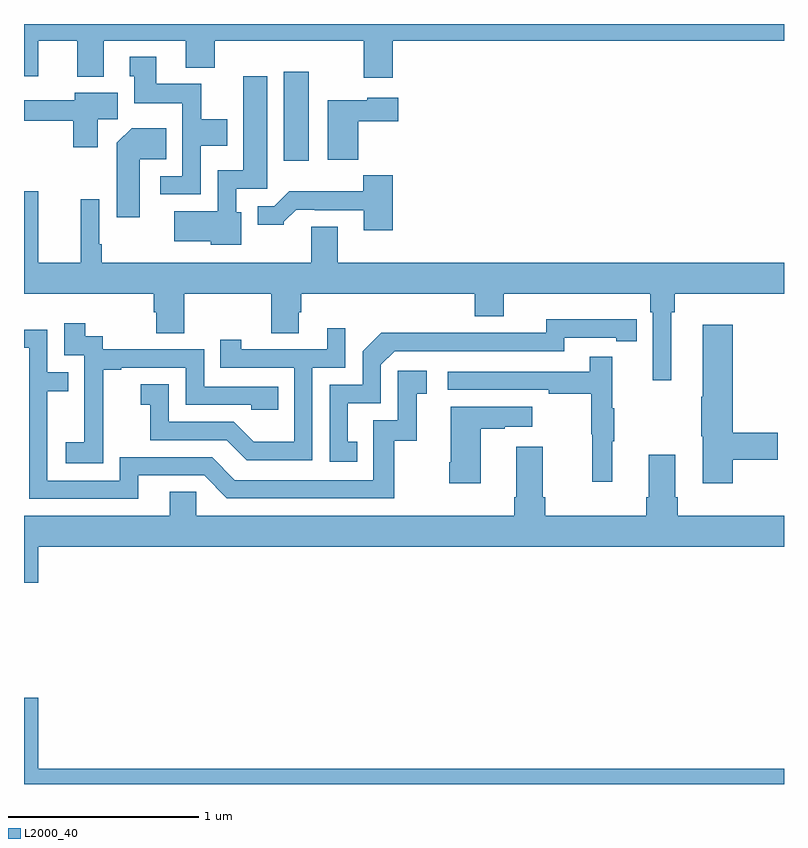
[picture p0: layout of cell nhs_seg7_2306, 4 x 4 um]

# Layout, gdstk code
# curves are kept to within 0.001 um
import gdstk
lib = gdstk.Library(unit=1e-6, precision=1e-09)
def R(c, l, rs):  # rectangles x0, y0, x1, y1
    for r in rs: c.add(gdstk.rectangle(r[:2], r[2:], *l))
def P(c, l, *ps):  # polygons
    for p in ps: c.add(gdstk.Polygon(p, *l))
L2000_40 = (2000, 40)

nhs_seg7_2306 = lib.new_cell('nhs_seg7_2306')
R(nhs_seg7_2306, L2000_40, [(262.367,1037.28,262.498,1037.749)])
P(nhs_seg7_2306, L2000_40, [(262.94,1037.912),(265,1037.912),(265,1038),(261,1038),(261,1037.724),(261.076,1037.724),(261.076,1037.912),(261.281,1037.912),(261.281,1037.723),(261.421,1037.723),(261.421,1037.912),(261.851,1037.912),(261.851,1037.771),(262.004,1037.771),(262.004,1037.912),(262.787,1037.912),(262.787,1037.718),(262.94,1037.718)],
  [(261.93,1037.36),(262.069,1037.36),(262.069,1037.5),(261.933,1037.5),(261.933,1037.686),(261.697,1037.686),(261.697,1037.827),(261.557,1037.827),(261.557,1037.724),(261.581,1037.724),(261.581,1037.582),(261.834,1037.582),(261.834,1037.199),(261.717,1037.199),(261.717,1037.103),(261.93,1037.103)],
  [(262.144,1037.01),(262.116,1037.01),(262.116,1037.133),(262.279,1037.133),(262.279,1037.725),(262.154,1037.725),(262.154,1037.23),(262.02,1037.23),(262.02,1037.014),(261.791,1037.014),(261.791,1036.856),(261.984,1036.856),(261.984,1036.838),(262.144,1036.838)],
  [(261.388,1037.5),(261.493,1037.5),(261.493,1037.638),(261.266,1037.638),(261.266,1037.598),(261,1037.598),(261,1037.49),(261.259,1037.49),(261.259,1037.352),(261.388,1037.352)],
  [(262.76,1037.489),(262.969,1037.489),(262.969,1037.611),(262.806,1037.611),(262.806,1037.599),(262.598,1037.599),(262.598,1037.285),(262.76,1037.285)],
  [(261.61,1037.288),(261.749,1037.288),(261.749,1037.452),(261.566,1037.452),(261.488,1037.374),(261.488,1036.983),(261.61,1036.983)],
  [(262.94,1037.203),(262.785,1037.203),(262.785,1037.119),(262.396,1037.119),(262.317,1037.04),(262.229,1037.04),(262.229,1036.943),(262.368,1036.943),(262.368,1036.958),(262.432,1037.022),(262.531,1037.022),(262.531,1037.019),(262.787,1037.019),(262.787,1036.914),(262.94,1036.914)],
  [(264.406,1036.484),(264.425,1036.484),(264.425,1036.58),(265,1036.58),(265,1036.744),(262.651,1036.744),(262.651,1036.934),(262.511,1036.934),(262.511,1036.744),(261.409,1036.744),(261.409,1036.84),(261.396,1036.84),(261.396,1037.077),(261.298,1037.077),(261.298,1036.744),(261.076,1036.744),(261.076,1037.119),(261,1037.119),(261,1036.58),(261.683,1036.58),(261.683,1036.482),(261.695,1036.482),(261.695,1036.372),(261.843,1036.372),(261.843,1036.58),(262.3,1036.58),(262.3,1036.372),(262.447,1036.372),(262.447,1036.482),(262.46,1036.482),(262.46,1036.58),(263.372,1036.58),(263.372,1036.463),(263.524,1036.463),(263.524,1036.58),(264.296,1036.58),(264.296,1036.484),(264.309,1036.484),(264.309,1036.125),(264.406,1036.125)],
  [(262.754,1035.801),(262.705,1035.801),(262.705,1036.005),(262.878,1036.005),(262.878,1036.206),(262.95,1036.278),(263.844,1036.278),(263.844,1036.35),(264.116,1036.35),(264.116,1036.33),(264.224,1036.33),(264.224,1036.446),(263.748,1036.447),(263.748,1036.374),(263.288,1036.374),(263.288,1036.376),(262.88,1036.376),(262.782,1036.278),(262.782,1036.101),(262.608,1036.101),(262.608,1035.696),(262.754,1035.696)],
  [(261.416,1036.179),(261.511,1036.179),(261.511,1036.191),(261.852,1036.191),(261.852,1035.996),(262.197,1035.996),(262.197,1035.969),(262.337,1035.969),(262.337,1036.092),(261.948,1036.092),(261.948,1036.287),(261.414,1036.287),(261.414,1036.356),(261.322,1036.356),(261.322,1036.426),(261.213,1036.426),(261.213,1036.257),(261.318,1036.257),(261.318,1036.028),(261.317,1036.028),(261.317,1035.799),(261.219,1035.799),(261.219,1035.689),(261.416,1035.689)],
  [(264.731,1035.706),(264.967,1035.706),(264.967,1035.848),(264.731,1035.848),(264.731,1036.417),(264.572,1036.417),(264.572,1036.037),(264.565,1036.037),(264.565,1035.831),(264.572,1035.831),(264.572,1035.582),(264.731,1035.582)],
  [(262.518,1036.191),(262.692,1036.191),(262.692,1036.399),(262.595,1036.399),(262.595,1036.287),(262.144,1036.287),(262.144,1036.339),(262.033,1036.339),(262.033,1036.191),(262.422,1036.191),(262.422,1035.802),(262.208,1035.802),(262.104,1035.906),(261.762,1035.906),(261.762,1036.105),(261.615,1036.105),(261.615,1035.995),(261.664,1035.995),(261.664,1035.81),(262.067,1035.81),(262.172,1035.705),(262.518,1035.705)],
  [(261.601,1035.624),(261.948,1035.624),(262.068,1035.504),(262.948,1035.504),(262.948,1035.807),(263.066,1035.807),(263.066,1036.053),(263.119,1036.053),(263.119,1036.174),(262.968,1036.174),(262.968,1035.915),(262.839,1035.915),(262.839,1035.6),(262.11,1035.6),(261.99,1035.72),(261.504,1035.72),(261.504,1035.597),(261.123,1035.597),(261.123,1036.066),(261.233,1036.066),(261.233,1036.167),(261.123,1036.167),(261.123,1036.392),(261,1036.392),(261,1036.296),(261.027,1036.296),(261.027,1035.501),(261.601,1035.501)],
  [(264.095,1035.803),(264.106,1035.803),(264.106,1035.977),(264.095,1035.977),(264.095,1036.249),(263.977,1036.249),(263.977,1036.17),(263.229,1036.17),(263.229,1036.074),(263.761,1036.074),(263.761,1036.054),(263.985,1036.054),(263.985,1035.84),(263.992,1035.84),(263.992,1035.591),(264.095,1035.591)],
  [(263.404,1035.871),(263.531,1035.871),(263.531,1035.881),(263.674,1035.881),(263.674,1035.985),(263.246,1035.985),(263.246,1035.694),(263.239,1035.694),(263.239,1035.582),(263.404,1035.582)],
  [(265,1035.412),(264.44,1035.412),(264.44,1035.508),(264.427,1035.508),(264.427,1035.733),(264.287,1035.733),(264.287,1035.508),(264.275,1035.508),(264.275,1035.412),(263.744,1035.412),(263.744,1035.508),(263.731,1035.508),(263.731,1035.775),(263.591,1035.775),(263.591,1035.508),(263.579,1035.508),(263.579,1035.412),(261.906,1035.412),(261.906,1035.539),(261.767,1035.539),(261.767,1035.412),(261,1035.412),(261,1035.06),(261.076,1035.06),(261.076,1035.248),(265,1035.248)],
  [(265,1034.08),(261.076,1034.08),(261.076,1034.455),(261,1034.455),(261,1034),(265,1034)])

lib.write_gds('nhs_seg7_2306.gds')
